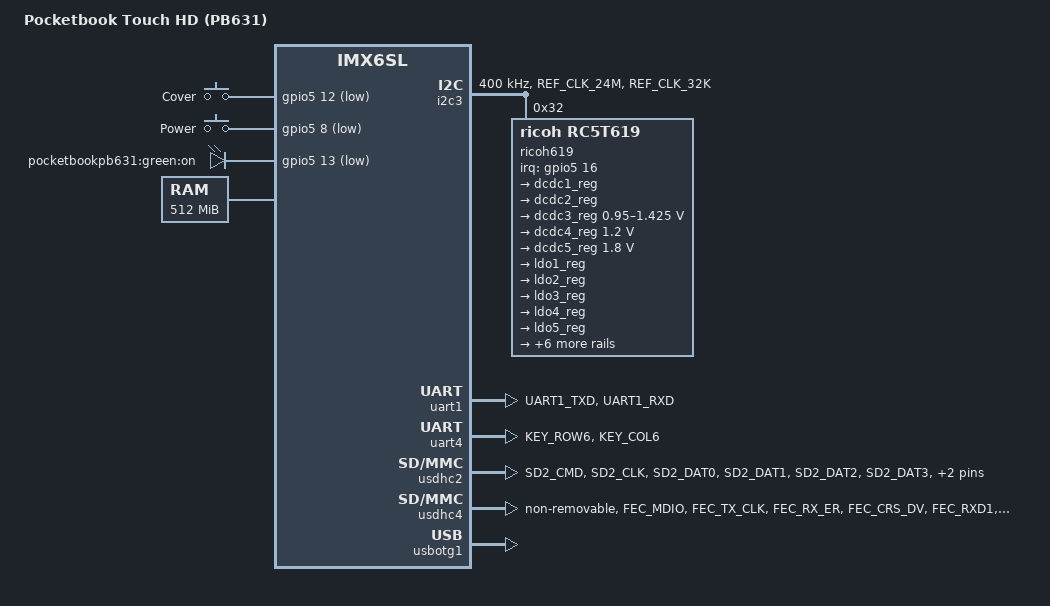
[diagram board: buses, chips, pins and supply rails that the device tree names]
// SPDX-License-Identifier: GPL-2.0
/*
 * Device tree for the Pocketbook Touch HD ebook reader
 *
 * Name on mainboard is: 37NB-E60QK0+4A2
 * Serials start with: 60QK2
 *
 */

/dts-v1/;

#include <dt-bindings/input/input.h>
#include <dt-bindings/gpio/gpio.h>
#include "imx6sl.dtsi"

/ {
	model = "Pocketbook Touch HD (PB631)";
	compatible = "pocketbook,pb631", "fsl,imx6sl";

	aliases {
		mmc0 = &usdhc2;
		mmc1 = &usdhc4;
	};

	chosen {
		stdout-path = &uart1;
	};

	gpio_keys: gpio-keys {
		compatible = "gpio-keys";
		pinctrl-names = "default";
		pinctrl-0 = <&pinctrl_gpio_keys>;

		cover {
			label = "Cover";
			gpios = <&gpio5 12 GPIO_ACTIVE_LOW>;
			linux,code = <SW_LID>;
			linux,input-type = <EV_SW>;
			wakeup-source;
		};

		power {
			label = "Power";
			gpios = <&gpio5 8 GPIO_ACTIVE_LOW>;
			linux,code = <KEY_POWER>;
			wakeup-source;
		};
	};

	leds: leds {
		compatible = "gpio-leds";
		pinctrl-names = "default";
		pinctrl-0 = <&pinctrl_led>;

		on {
			label = "pocketbookpb631:green:on";
			gpios = <&gpio5 13 GPIO_ACTIVE_LOW>;
			linux,default-trigger = "timer";
		};
	};

	memory@80000000 {
		device_type = "memory";
		reg = <0x80000000 0x20000000>;
	};
};

&i2c3 {
	pinctrl-names = "default";
	pinctrl-0 = <&pinctrl_i2c3>;
	clock-frequency = <400000>;
	status = "okay";

	ricoh619: pmic@32 {
		compatible = "ricoh,rc5t619";
		pinctrl-names = "default";
		pinctrl-0 = <&pinctrl_ricoh_gpio>;
		reg = <0x32>;
		interrupt-parent = <&gpio5>;
		interrupts = <16 IRQ_TYPE_EDGE_FALLING>;
		system-power-controller;

		regulators {
			dcdc1_reg: DCDC1 {
				regulator-name = "DCDC1";
				regulator-always-on;
				regulator-boot-on;

				regulator-state-mem {
					regulator-on-in-suspend;
					regulator-suspend-max-microvolt = <950000>;
					regulator-suspend-min-microvolt = <950000>;
				};
			};

			/* Core3_3V3 */
			dcdc2_reg: DCDC2 {
				regulator-name = "DCDC2";
				regulator-always-on;
				regulator-boot-on;
			};

			dcdc3_reg: DCDC3 {
				regulator-name = "DCDC3";
				regulator-min-microvolt = <950000>;
				regulator-max-microvolt = <1425000>;
				regulator-always-on;
				regulator-boot-on;

				regulator-state-mem {
					regulator-on-in-suspend;
					regulator-suspend-max-microvolt = <950000>;
					regulator-suspend-min-microvolt = <950000>;
				};
			};

			/* Core4_1V2 */
			dcdc4_reg: DCDC4 {
				regulator-name = "DCDC4";
				regulator-min-microvolt = <1200000>;
				regulator-max-microvolt = <1200000>;
				regulator-always-on;
				regulator-boot-on;

			};

			/* Core4_1V8 */
			dcdc5_reg: DCDC5 {
				regulator-name = "DCDC5";
				regulator-min-microvolt = <1800000>;
				regulator-max-microvolt = <1800000>;
				regulator-always-on;
				regulator-boot-on;
			};

			/* IR_3V3 */
			ldo1_reg: LDO1  {
				regulator-name = "LDO1";
				regulator-boot-on;
			};

			/* Core1_3V3 */
			ldo2_reg: LDO2  {
				regulator-name = "LDO2";
				regulator-always-on;
				regulator-boot-on;
			};

			/* Core5_1V2 */
			ldo3_reg: LDO3  {
				regulator-name = "LDO3";
				regulator-always-on;
				regulator-boot-on;
			};

			ldo4_reg: LDO4 {
				regulator-name = "LDO4";
				regulator-boot-on;
			};

			/* SPD_3V3 */
			ldo5_reg: LDO5 {
				regulator-name = "LDO5";
				regulator-always-on;
				regulator-boot-on;
			};

			/* DDR_0V6 */
			ldo6_reg: LDO6 {
				regulator-name = "LDO6";
				regulator-always-on;
				regulator-boot-on;
			};

			/* VDD_PWM */
			ldo7_reg: LDO7 {
				regulator-name = "LDO7";
				regulator-always-on;
				regulator-boot-on;
			};

			/* ldo_1v8 */
			ldo8_reg: LDO8 {
				regulator-name = "LDO8";
				regulator-min-microvolt = <1800000>;
				regulator-max-microvolt = <1800000>;
				regulator-always-on;
				regulator-boot-on;
			};

			ldo9_reg: LDO9 {
				regulator-name = "LDO9";
				regulator-boot-on;
			};

			ldo10_reg: LDO10 {
				regulator-name = "LDO10";
				regulator-boot-on;
			};

			ldortc1_reg: LDORTC1  {
				regulator-name = "LDORTC1";
				regulator-always-on;
				regulator-boot-on;
			};
		};
	};
};

&iomuxc {
	pinctrl-names = "default";
	pinctrl-0 = <&pinctrl_hog>;

	pinctrl_gpio_keys: gpio-keysgrp {
		fsl,pins = <
			MX6SL_PAD_SD1_DAT1__GPIO5_IO08  0x17059
			MX6SL_PAD_SD1_DAT4__GPIO5_IO12  0x17059
		>;
	};

	pinctrl_hog: hoggrp {
		fsl,pins = <
			MX6SL_PAD_LCD_DAT0__GPIO2_IO20	0x79
			MX6SL_PAD_LCD_DAT1__GPIO2_IO21	0x79
			MX6SL_PAD_LCD_DAT2__GPIO2_IO22	0x79
			MX6SL_PAD_LCD_DAT3__GPIO2_IO23	0x79
			MX6SL_PAD_LCD_DAT4__GPIO2_IO24	0x79
			MX6SL_PAD_LCD_DAT5__GPIO2_IO25	0x79
			MX6SL_PAD_LCD_DAT6__GPIO2_IO26	0x79
			MX6SL_PAD_LCD_DAT7__GPIO2_IO27	0x79
			MX6SL_PAD_LCD_DAT8__GPIO2_IO28	0x79
			MX6SL_PAD_LCD_DAT9__GPIO2_IO29	0x79
			MX6SL_PAD_LCD_DAT10__GPIO2_IO30	0x79
			MX6SL_PAD_LCD_DAT11__GPIO2_IO31	0x79
			MX6SL_PAD_LCD_DAT12__GPIO3_IO00	0x79
			MX6SL_PAD_LCD_DAT13__GPIO3_IO01	0x79
			MX6SL_PAD_LCD_DAT14__GPIO3_IO02	0x79
			MX6SL_PAD_LCD_DAT15__GPIO3_IO03	0x79
			MX6SL_PAD_LCD_DAT16__GPIO3_IO04	0x79
			MX6SL_PAD_LCD_DAT17__GPIO3_IO05	0x79
			MX6SL_PAD_LCD_DAT18__GPIO3_IO06	0x79
			MX6SL_PAD_LCD_DAT19__GPIO3_IO07	0x79
			MX6SL_PAD_LCD_DAT20__GPIO3_IO08	0x79
			MX6SL_PAD_LCD_DAT21__GPIO3_IO09	0x79
			MX6SL_PAD_LCD_DAT22__GPIO3_IO10	0x79
			MX6SL_PAD_LCD_DAT23__GPIO3_IO11	0x79
			MX6SL_PAD_LCD_CLK__GPIO2_IO15		0x79
			MX6SL_PAD_LCD_ENABLE__GPIO2_IO16	0x79
			MX6SL_PAD_LCD_HSYNC__GPIO2_IO17	0x79
			MX6SL_PAD_LCD_VSYNC__GPIO2_IO18	0x79
			MX6SL_PAD_LCD_RESET__GPIO2_IO19	0x79
			MX6SL_PAD_KEY_COL3__GPIO3_IO30		0x79
			MX6SL_PAD_KEY_ROW7__GPIO4_IO07		0x79
			MX6SL_PAD_ECSPI2_MOSI__GPIO4_IO13	0x79
			MX6SL_PAD_KEY_COL5__GPIO4_IO02		0x79
		>;
	};

	pinctrl_i2c3: i2c3grp {
		fsl,pins = <
			MX6SL_PAD_REF_CLK_24M__I2C3_SCL  0x4001f8b1
			MX6SL_PAD_REF_CLK_32K__I2C3_SDA  0x4001f8b1
		>;
	};

	pinctrl_led: ledgrp {
		fsl,pins = <
			MX6SL_PAD_SD1_DAT2__GPIO5_IO13 0x17059
		>;
	};

	pinctrl_ricoh_gpio: ricoh_gpiogrp {
		fsl,pins = <
			MX6SL_PAD_SD1_CLK__GPIO5_IO15	0x1b8b1 /* ricoh619 chg */
			MX6SL_PAD_SD1_DAT0__GPIO5_IO11	0x1b8b1 /* ricoh619 irq */
			MX6SL_PAD_KEY_COL2__GPIO3_IO28	0x1b8b1 /* ricoh619 bat_low_int */
		>;
	};

	pinctrl_uart1: uart1grp {
		fsl,pins = <
			MX6SL_PAD_UART1_TXD__UART1_TX_DATA 0x1b0b1
			MX6SL_PAD_UART1_RXD__UART1_RX_DATA 0x1b0b1
		>;
	};

	pinctrl_uart4: uart4grp {
		fsl,pins = <
			MX6SL_PAD_KEY_ROW6__UART4_TX_DATA 0x1b0b1
			MX6SL_PAD_KEY_COL6__UART4_RX_DATA 0x1b0b1
		>;
	};

	pinctrl_usbotg1: usbotg1grp {
		fsl,pins = <
			MX6SL_PAD_EPDC_PWRCOM__USB_OTG1_ID 0x17059
		>;
	};

	pinctrl_usdhc2: usdhc2grp {
		fsl,pins = <
			MX6SL_PAD_SD2_CMD__SD2_CMD		0x17059
			MX6SL_PAD_SD2_CLK__SD2_CLK		0x13059
			MX6SL_PAD_SD2_DAT0__SD2_DATA0		0x17059
			MX6SL_PAD_SD2_DAT1__SD2_DATA1		0x17059
			MX6SL_PAD_SD2_DAT2__SD2_DATA2		0x17059
			MX6SL_PAD_SD2_DAT3__SD2_DATA3		0x17059
			MX6SL_PAD_SD2_DAT4__GPIO5_IO02		0x1b0b1
		>;
	};

	pinctrl_usdhc2_100mhz: usdhc2grp-100mhz {
		fsl,pins = <
			MX6SL_PAD_SD2_CMD__SD2_CMD		0x170b9
			MX6SL_PAD_SD2_CLK__SD2_CLK		0x130b9
			MX6SL_PAD_SD2_DAT0__SD2_DATA0		0x170b9
			MX6SL_PAD_SD2_DAT1__SD2_DATA1		0x170b9
			MX6SL_PAD_SD2_DAT2__SD2_DATA2		0x170b9
			MX6SL_PAD_SD2_DAT3__SD2_DATA3		0x170b9
		>;
	};

	pinctrl_usdhc2_200mhz: usdhc2grp-200mhz {
		fsl,pins = <
			MX6SL_PAD_SD2_CMD__SD2_CMD		0x170f9
			MX6SL_PAD_SD2_CLK__SD2_CLK		0x130f9
			MX6SL_PAD_SD2_DAT0__SD2_DATA0		0x170f9
			MX6SL_PAD_SD2_DAT1__SD2_DATA1		0x170f9
			MX6SL_PAD_SD2_DAT2__SD2_DATA2		0x170f9
			MX6SL_PAD_SD2_DAT3__SD2_DATA3		0x170f9
		>;
	};

	pinctrl_usdhc2_sleep: usdhc2grp-sleep {
		fsl,pins = <
			MX6SL_PAD_SD2_CMD__GPIO5_IO04		0x100f9
			MX6SL_PAD_SD2_CLK__GPIO5_IO05		0x100f9
			MX6SL_PAD_SD2_DAT0__GPIO5_IO01		0x100f9
			MX6SL_PAD_SD2_DAT1__GPIO4_IO30		0x100f9
			MX6SL_PAD_SD2_DAT2__GPIO5_IO03		0x100f9
			MX6SL_PAD_SD2_DAT3__GPIO4_IO28		0x100f9
		>;
	};

	pinctrl_usdhc3: usdhc3grp {
		fsl,pins = <
			MX6SL_PAD_SD3_CMD__SD3_CMD	0x11059
			MX6SL_PAD_SD3_CLK__SD3_CLK	0x11059
			MX6SL_PAD_SD3_DAT0__SD3_DATA0	0x11059
			MX6SL_PAD_SD3_DAT1__SD3_DATA1	0x11059
			MX6SL_PAD_SD3_DAT2__SD3_DATA2	0x11059
			MX6SL_PAD_SD3_DAT3__SD3_DATA3	0x11059
		>;
	};

	pinctrl_usdhc3_100mhz: usdhc3grp-100mhz {
		fsl,pins = <
			MX6SL_PAD_SD3_CMD__SD3_CMD	0x170b9
			MX6SL_PAD_SD3_CLK__SD3_CLK	0x170b9
			MX6SL_PAD_SD3_DAT0__SD3_DATA0	0x170b9
			MX6SL_PAD_SD3_DAT1__SD3_DATA1	0x170b9
			MX6SL_PAD_SD3_DAT2__SD3_DATA2	0x170b9
			MX6SL_PAD_SD3_DAT3__SD3_DATA3	0x170b9
		>;
	};

	pinctrl_usdhc3_200mhz: usdhc3grp-200mhz {
		fsl,pins = <
			MX6SL_PAD_SD3_CMD__SD3_CMD	0x170f9
			MX6SL_PAD_SD3_CLK__SD3_CLK	0x170f9
			MX6SL_PAD_SD3_DAT0__SD3_DATA0	0x170f9
			MX6SL_PAD_SD3_DAT1__SD3_DATA1	0x170f9
			MX6SL_PAD_SD3_DAT2__SD3_DATA2	0x170f9
			MX6SL_PAD_SD3_DAT3__SD3_DATA3	0x170f9
		>;
	};

	pinctrl_usdhc3_sleep: usdhc3grp-sleep {
		fsl,pins = <
			MX6SL_PAD_SD3_CMD__GPIO5_IO21	0x100c1
			MX6SL_PAD_SD3_CLK__GPIO5_IO18	0x100c1
			MX6SL_PAD_SD3_DAT0__GPIO5_IO19	0x100c1
			MX6SL_PAD_SD3_DAT1__GPIO5_IO20	0x100c1
			MX6SL_PAD_SD3_DAT2__GPIO5_IO16	0x100c1
			MX6SL_PAD_SD3_DAT3__GPIO5_IO17	0x100c1
		>;
	};

	pinctrl_usdhc4: usdhc4grp {
		fsl,pins = <
			MX6SL_PAD_FEC_MDIO__SD4_CLK		0x13059
			MX6SL_PAD_FEC_TX_CLK__SD4_CMD		0x17059
			MX6SL_PAD_FEC_RX_ER__SD4_DATA0		0x17059
			MX6SL_PAD_FEC_CRS_DV__SD4_DATA1		0x17059
			MX6SL_PAD_FEC_RXD1__SD4_DATA2		0x17059
			MX6SL_PAD_FEC_TXD0__SD4_DATA3		0x17059
			MX6SL_PAD_FEC_MDC__SD4_DATA4		0x17059
			MX6SL_PAD_FEC_RXD0__SD4_DATA5		0x17059
			MX6SL_PAD_FEC_TX_EN__SD4_DATA6		0x17059
			MX6SL_PAD_FEC_TXD1__SD4_DATA7		0x17059
			MX6SL_PAD_FEC_REF_CLK__FEC_REF_OUT	0x4001b0a8
		>;
	};

	pinctrl_usdhc4_100mhz: usdhc4grp-100mhz {
		fsl,pins = <
			MX6SL_PAD_FEC_MDIO__SD4_CLK		0x130b9
			MX6SL_PAD_FEC_TX_CLK__SD4_CMD		0x170b9
			MX6SL_PAD_FEC_RX_ER__SD4_DATA0		0x170b9
			MX6SL_PAD_FEC_CRS_DV__SD4_DATA1		0x170b9
			MX6SL_PAD_FEC_RXD1__SD4_DATA2		0x170b9
			MX6SL_PAD_FEC_TXD0__SD4_DATA3		0x170b9
			MX6SL_PAD_FEC_MDC__SD4_DATA4		0x170b9
			MX6SL_PAD_FEC_RXD0__SD4_DATA5		0x170b9
			MX6SL_PAD_FEC_TX_EN__SD4_DATA6		0x170b9
			MX6SL_PAD_FEC_TXD1__SD4_DATA7		0x170b9
			MX6SL_PAD_FEC_REF_CLK__FEC_REF_OUT	0x4001b0a8
		>;
	};

	pinctrl_usdhc4_200mhz: usdhc4grp-200mhz {
		fsl,pins = <
			MX6SL_PAD_FEC_MDIO__SD4_CLK		0x130f9
			MX6SL_PAD_FEC_TX_CLK__SD4_CMD		0x170f9
			MX6SL_PAD_FEC_RX_ER__SD4_DATA0		0x170f9
			MX6SL_PAD_FEC_CRS_DV__SD4_DATA1		0x170f9
			MX6SL_PAD_FEC_RXD1__SD4_DATA2		0x170f9
			MX6SL_PAD_FEC_TXD0__SD4_DATA3		0x170f9
			MX6SL_PAD_FEC_MDC__SD4_DATA4		0x170f9
			MX6SL_PAD_FEC_RXD0__SD4_DATA5		0x170f9
			MX6SL_PAD_FEC_TX_EN__SD4_DATA6		0x170f9
			MX6SL_PAD_FEC_TXD1__SD4_DATA7		0x170f9
			MX6SL_PAD_FEC_REF_CLK__FEC_REF_OUT	0x4001b0a8
		>;
	};

	pinctrl_usdhc4_sleep: usdhc4grp-sleep {
		fsl,pins = <
			MX6SL_PAD_FEC_MDIO__GPIO4_IO20		0x100f9
			MX6SL_PAD_FEC_TX_CLK__GPIO4_IO21	0x100f9
			MX6SL_PAD_FEC_RX_ER__GPIO4_IO19		0x100f9
			MX6SL_PAD_FEC_CRS_DV__GPIO4_IO25	0x100f9
			MX6SL_PAD_FEC_RXD1__GPIO4_IO18		0x100f9
			MX6SL_PAD_FEC_TXD0__GPIO4_IO24		0x100f9
			MX6SL_PAD_FEC_MDC__GPIO4_IO23		0x100f9
			MX6SL_PAD_FEC_RXD0__GPIO4_IO17		0x100f9
			MX6SL_PAD_FEC_TX_EN__GPIO4_IO22		0x100f9
			MX6SL_PAD_FEC_TXD1__GPIO4_IO16		0x100f9
			MX6SL_PAD_FEC_REF_CLK__GPIO4_IO26	0x100f9
		>;
	};

	pinctrl_wifi_power: wifi-powergrp {
		fsl,pins = <
			MX6SL_PAD_SD2_DAT6__GPIO4_IO29	0x10059	/* WIFI_3V3_ON */
		>;
	};

	pinctrl_wifi_reset: wifi-resetgrp {
		fsl,pins = <
			MX6SL_PAD_SD2_DAT7__GPIO5_IO00	0x10059	/* WIFI_RST */
		>;
	};

	pinctrl_zforce: zforcegrp {
		fsl,pins = <
			MX6SL_PAD_SD1_DAT3__GPIO5_IO06		0x17059 /* TP_INT */
			MX6SL_PAD_SD1_DAT5__GPIO5_IO09		0x10059 /* TP_RST */
		>;
	};
};

&snvs_rtc {
	/*
	 * We are using the RTC in the PMIC, but this one is not disabled
	 * in imx6sl.dtsi.
	 */
	status = "disabled";
};

&uart1 {
	/* J4, through-holes */
	pinctrl-names = "default";
	pinctrl-0 = <&pinctrl_uart1>;
	status = "okay";
};

&uart4 {
	/* TP198, next to J4, SMD pads */
	pinctrl-names = "default";
	pinctrl-0 = <&pinctrl_uart4>;
	status = "okay";
};

&usdhc2 {
	pinctrl-names = "default", "state_100mhz", "state_200mhz", "sleep";
	pinctrl-0 = <&pinctrl_usdhc2>;
	pinctrl-1 = <&pinctrl_usdhc2_100mhz>;
	pinctrl-2 = <&pinctrl_usdhc2_200mhz>;
	pinctrl-3 = <&pinctrl_usdhc2_sleep>;
	status = "okay";
    
    cd-gpios = <&gpio5 2 GPIO_ACTIVE_LOW>;

	/* external uSD card */
};


&usdhc4 {
	pinctrl-names = "default", "state_100mhz", "state_200mhz", "sleep";
	pinctrl-0 = <&pinctrl_usdhc4>;
	pinctrl-1 = <&pinctrl_usdhc4_100mhz>;
	pinctrl-2 = <&pinctrl_usdhc4_200mhz>;
	pinctrl-3 = <&pinctrl_usdhc4_sleep>;
	status = "okay";
	non-removable;

	/* internal uSD card */
};

&usbotg1 {
	pinctrl-names = "default";
	disable-over-current;
	srp-disable;
	hnp-disable;
	adp-disable;
	status = "okay";
};
